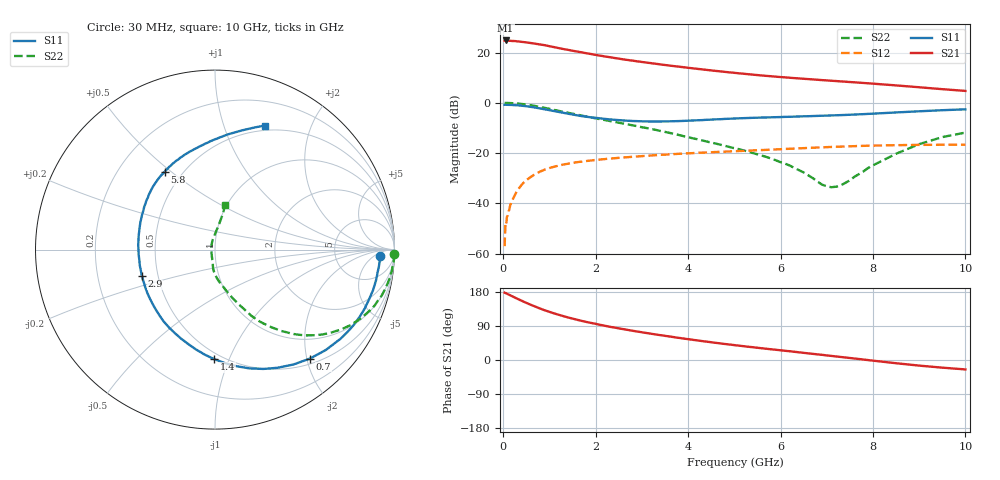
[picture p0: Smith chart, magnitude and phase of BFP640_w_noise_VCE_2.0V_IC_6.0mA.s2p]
! Infineon Technologies  Discrete & RF Semiconductors
! BFP640
! VCE =  2.0 V,  IC =  6.0 mA
! Common Emitter S-Parameters:  Apr 2013
# GHz  S  MA  R  50
!  f  S11  S21  S12  S22
! GHz  MAG  ANG  MAG  ANG  MAG  ANG  MAG  ANG
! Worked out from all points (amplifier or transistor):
!   99 points, 30 MHz to 10 GHz, reference 50 ohm
!   highest |S21| = 24.9 dB at 50 MHz (marker M1)
!   |S21| within 3 dB of that: start of sweep to 1.19 GHz
!   unconditionally stable (mu >= 1): 4.711 GHz to end of sweep
!   at 350 MHz: K = 0.07, MSG = 29.1 dB, |S12| = -33.8 dB
!   at 3.5 GHz: K = 0.87, MSG = 17.9 dB, |S12| = -20.6 dB
!   at 10 GHz: K = 1.13, MAG = 8.5 dB, |S12| = -16.6 dB
!   lowest NFmin = 0.56 dB at 450 MHz
!   S11 on the Smith chart (normalised r, x): 30 MHz: 20, -9; 700 MHz: 0.60, -2.06; 1.4 GHz: 0.45, -0.88; 2.9 GHz: 0.41, -0.15; 5.8 GHz: 0.40, +0.47; 10 GHz: 0.45, +1.38
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0.03  0.919 -2.1  17.34 177.7  0.0014 81.3  0.9978 -1.3
0.04  0.9195 -2.8  17.28 177.1  0.0024 84.8  0.9982 -1.7
0.05  0.9195 -3.6  17.54 176.8  0.0041 65.6  0.9982 -2.3
0.25  0.9019 -18.0  17.1 164.8  0.0145 80.8  0.981 -10.9
0.35  0.8885 -25.0  16.69 159.1  0.0204 78.6  0.9635 -15.4
0.5  0.8579 -35.4  16.05 150.8  0.0289 72.0  0.9271 -21.5
0.7  0.8054 -48.9  15.07 140.6  0.0385 65.4  0.8647 -29.1
0.9  0.745 -62.1  14.1 131.1  0.047 58.7  0.7959 -35.5
1.1  0.6887 -73.9  12.91 123.0  0.0535 53.3  0.7261 -41.1
1.4  0.6099 -90.5  11.4 112.3  0.0614 46.9  0.6363 -47.5
1.7  0.5456 -106.2  10.16 103.1  0.0676 42.1  0.5583 -52.4
1.9  0.5154 -116.0  9.408 97.8  0.0712 39.4  0.5121 -55.3
2.3  0.4695 -134.6  8.153 87.8  0.0776 34.7  0.4368 -60.2
2.9  0.4334 -160.1  6.733 75.2  0.0858 29.5  0.3436 -65.7
3.4  0.4264 -180.0  5.855 65.5  0.0923 25.8  0.276 -71.0
4.1  0.4459 157.2  4.885 53.3  0.1001 20.4  0.1975 -79.7
5.1  0.4932 134.1  3.888 37.9  0.1101 14.0  0.1199 -93.2
5.8  0.5166 122.9  3.392 28.2  0.1173 10.0  0.0776 -99.1
6.7  0.5475 110.6  2.935 16.2  0.128 4.1  0.0317 -126.0
7.3  0.5713 101.6  2.685 8.0  0.1346 -0.4  0.0226 156.4
8.5  0.6456 83.7  2.232 -8.5  0.144 -10.2  0.097 87.4
10  0.745 68.1  1.733 -24.9  0.1471 -19.9  0.2565 77.3
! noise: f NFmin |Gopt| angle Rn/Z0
0.45  0.56  0.4  11  0.09
0.9  0.58  0.4  20  0.09
1.5  0.6  0.35  32  0.09
1.9  0.63  0.3  50  0.09
2.4  0.69  0.27  58  0.09
3.5  0.83  0.22  81  0.09
5.5  1.09  0.26  -150  0.11
10  1.75  0.61  -63  0.42
